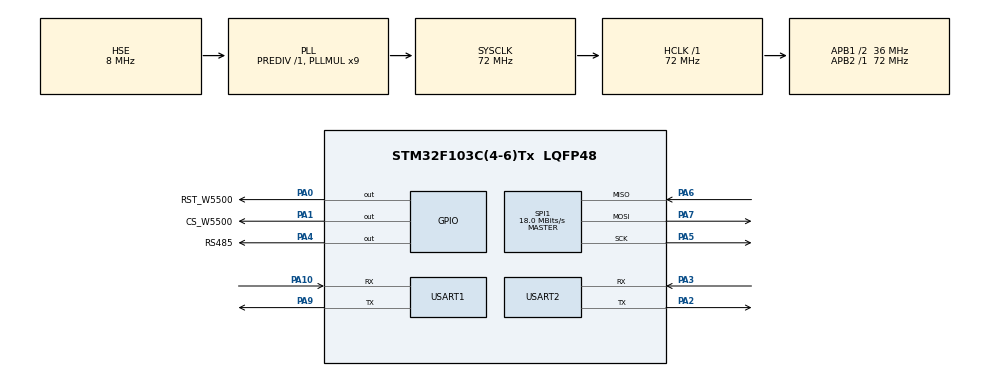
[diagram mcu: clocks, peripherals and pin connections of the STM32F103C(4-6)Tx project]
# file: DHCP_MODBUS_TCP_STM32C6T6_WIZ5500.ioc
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Mcu.Family=STM32F1
Mcu.Name=STM32F103C(4-6)Tx
Mcu.Package=LQFP48
NVIC.PriorityGroup=NVIC_PRIORITYGROUP_4
PA0-WKUP.GPIO_Label=RST_W5500
PA0-WKUP.Signal=GPIO_Output
PA1.GPIO_Label=CS_W5500
PA1.Signal=GPIO_Output
PA10.Mode=Asynchronous
PA10.Signal=USART1_RX
PA13.Mode=Serial_Wire
PA13.Signal=SYS_JTMS-SWDIO
PA14.Mode=Serial_Wire
PA14.Signal=SYS_JTCK-SWCLK
PA2.Mode=Asynchronous
PA2.Signal=USART2_TX
PA3.Mode=Asynchronous
PA3.Signal=USART2_RX
PA4.GPIO_Label=RS485
PA4.Signal=GPIO_Output
PA5.Mode=Full_Duplex_Master
PA5.Signal=SPI1_SCK
PA6.Mode=Full_Duplex_Master
PA6.Signal=SPI1_MISO
PA7.Mode=Full_Duplex_Master
PA7.Signal=SPI1_MOSI
PA9.Mode=Asynchronous
PA9.Signal=USART1_TX
PD0-OSC_IN.Mode=HSE-External-Oscillator
PD0-OSC_IN.Signal=RCC_OSC_IN
PD1-OSC_OUT.Mode=HSE-External-Oscillator
PD1-OSC_OUT.Signal=RCC_OSC_OUT
ProjectManager.HeapSize=0x200
ProjectManager.StackSize=0x400
ProjectManager.TargetToolchain=STM32CubeIDE
RCC.AHBFreq_Value=72000000
RCC.APB1CLKDivider=RCC_HCLK_DIV2
RCC.APB1Freq_Value=36000000
RCC.APB1TimFreq_Value=72000000
RCC.APB2Freq_Value=72000000
RCC.APB2TimFreq_Value=72000000
RCC.HCLKFreq_Value=72000000
RCC.PLLMUL=RCC_PLL_MUL9
RCC.PLLSourceVirtual=RCC_PLLSOURCE_HSE
RCC.RTCClockSelection=RCC_RTCCLKSOURCE_HSE_DIV128
RCC.SYSCLKFreq_VALUE=72000000
RCC.SYSCLKSource=RCC_SYSCLKSOURCE_PLLCLK
RCC.USBFreq_Value=72000000
SPI1.BaudRatePrescaler=SPI_BAUDRATEPRESCALER_4
SPI1.CalculateBaudRate=18.0 MBits/s
SPI1.Direction=SPI_DIRECTION_2LINES
SPI1.Mode=SPI_MODE_MASTER
SPI1.VirtualType=VM_MASTER
USART1.VirtualMode=VM_ASYNC
USART2.VirtualMode=VM_ASYNC
board=custom

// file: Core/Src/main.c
/* USER CODE BEGIN Header */
/**
  ******************************************************************************
  * @file           : main.c
  * @brief          : Main program body
  ******************************************************************************
  * @attention
  *
  * Copyright (c) 2024 STMicroelectronics.
  * All rights reserved.
  *
  * This software is licensed under terms that can be found in the LICENSE file
  * in the root directory of this software component.
  * If no LICENSE file comes with this software, it is provided AS-IS.
  *
  ******************************************************************************
  */
/* USER CODE END Header */
#include "main.h"

/* USER CODE BEGIN Includes */
#include "socket.h"
#include "wizchip_conf.h"
#include "W5500_Spi.h"
#include <stdio.h>
#include "dhcp.h"
#include "ModbusMaster.h"
/* USER CODE END Includes */

/* USER CODE BEGIN PTD */
#define _MAIN_DEBUG_
#define _DHCP_DEBUG_
//////////////////////////////////////////////////
// Socket & Port number definition for Examples //
//////////////////////////////////////////////////
#define SOCK_DHCP       6
#define SOCK_SNTP		4
#define SOCK_TCPC 		5
#define TCPC_PORT 		3000
////////////////////////////////////////////////
// Shared Buffer Definition for Loopback test //
////////////////////////////////////////////////
uint8_t gDHCPBUF[RIP_MSG_SIZE];
///////////////////////////
// Network Configuration //
///////////////////////////s
wiz_NetInfo gWIZNETINFO = {
		.mac = { 0x80, 0x34, 0x28, 0x74, 0xA5, 0xCB },//MSB - LSB
		.ip ={ 192, 168, 1, 112 },
		.sn = { 255, 255, 255, 0 },
		.gw ={ 192, 168, 1, 1 },
		.dns = { 0, 0, 0, 0 },
		.dhcp = NETINFO_DHCP };
////////////////
// DHCP client//
////////////////
#define MY_MAX_DHCP_RETRY			2
uint8_t my_dhcp_retry = 0;
/*****************************************************************************
 * Private functions
 ****************************************************************************/
static void Net_Conf();
static void Display_Net_Conf();
// Callback function : User defined DHCP functions
void my_ip_assign(void);
void my_ip_conflict(void);
/* USER CODE END PTD */

SPI_HandleTypeDef hspi1;

UART_HandleTypeDef huart1;
UART_HandleTypeDef huart2;

void SystemClock_Config(void);
static void MX_GPIO_Init(void);
static void MX_SPI1_Init(void);
static void MX_USART2_UART_Init(void);
static void MX_USART1_UART_Init(void);

/* USER CODE BEGIN 0 */
void UWriteData(const char data)
{
	while(__HAL_UART_GET_FLAG(&huart2,UART_FLAG_TXE)==RESET);

	huart2.Instance->DR=data;

}

int __io_putchar(int ch)
{
	UWriteData(ch);
	return ch;
}

void PHYStatusCheck(void)
{
	uint8_t tmp;

	do
	{
		printf("\r\nChecking Ethernet Cable Presence ...");
		ctlwizchip(CW_GET_PHYLINK, (void*) &tmp);

		if(tmp == PHY_LINK_OFF)
		{
			printf("NO Cable Connected!");
			HAL_Delay(1500);
		}
	}while(tmp == PHY_LINK_OFF);

	printf("Good! Cable got connected!");

}

void PrintPHYConf(void)
{
	wiz_PhyConf phyconf;

	ctlwizchip(CW_GET_PHYCONF, (void*) &phyconf);

	if(phyconf.by==PHY_CONFBY_HW)
	{
		printf("\n\rPHY Configured by Hardware Pins");
	}
	else
	{
		printf("\n\rPHY Configured by Registers");
	}

	if(phyconf.mode==PHY_MODE_AUTONEGO)
	{
		printf("\n\rAutonegotiation Enabled");
	}
	else
	{
		printf("\n\rAutonegotiation NOT Enabled");
	}

	if(phyconf.duplex==PHY_DUPLEX_FULL)
	{
		printf("\n\rDuplex Mode: Full");
	}
	else
	{
		printf("\n\rDuplex Mode: Half");
	}

	if(phyconf.speed==PHY_SPEED_10)
	{
		printf("\n\rSpeed: 10Mbps");
	}
	else
	{
		printf("\n\rSpeed: 100Mbps");
	}
}

extern uint16_t mbHoldingReg;
extern uint16_t mbInputReg;
extern uint8_t mbDisCoils;
extern uint8_t mbCoils;
/* USER CODE END 0 */

int main(void)
{
  /* USER CODE BEGIN 1 */
	setbuf(stdout, NULL);
  /* USER CODE END 1 */

  /* MCU Configuration--------------------------------------------------------*/

  /* Reset of all peripherals, Initializes the Flash interface and the Systick. */
  HAL_Init();

  /* USER CODE BEGIN Init */
  uint8_t exit_dhcp_loop = 0;
  uint8_t run_user_applications = 0;
  /* USER CODE END Init */

  /* Configure the system clock */
  SystemClock_Config();

  /* Initialize all configured peripherals */
  MX_GPIO_Init();
  MX_SPI1_Init();
  MX_USART2_UART_Init();
  MX_USART1_UART_Init();
  /* USER CODE BEGIN 2 */
  printf("DHCP + DNS + SNTP W5500 Application!\r\n");
  W5500Init();

  ctlnetwork(CN_SET_NETINFO, (void*) &gWIZNETINFO);
  PHYStatusCheck();
    PrintPHYConf();
    if(gWIZNETINFO.dhcp == NETINFO_DHCP)
      	{
      		DHCP_init(SOCK_DHCP, gDHCPBUF);
      		// if you want different action instead default ip assign, update, conflict.
      		// if cbfunc == 0, act as default.
      		reg_dhcp_cbfunc(my_ip_assign, my_ip_assign, my_ip_conflict);

      		run_user_applications = 0; 	// flag for running user's code
      	}
      	else
      	{
      		// Static
      #ifdef _MAIN_DEBUG_
      		Display_Net_Conf();
      #endif
      		run_user_applications = 1; 	// flag for running user's code
      	}

	  if(gWIZNETINFO.dhcp == NETINFO_DHCP && exit_dhcp_loop != 1)
	    	  	{
	    				switch(DHCP_run())
	    				{
	    					case DHCP_IP_ASSIGN:
	    					case DHCP_IP_CHANGED:
	    						/* If this block empty, act with default_ip_assign & default_ip_update */
	    						//
	    						// This example calls my_ip_assign in the two case.
	    						//
	    						// Add to ...
	    						//
	    						break;
	    					case DHCP_IP_LEASED:
	    						//
	    						// TODO: insert user's code here
	    						run_user_applications = 1;

	    						exit_dhcp_loop = 1;
	    						break;
	    					case DHCP_FAILED:
	    						/* ===== Example pseudo code =====  */
	    						// The below code can be replaced your code or omitted.
	    						// if omitted, retry to process DHCP
	    						my_dhcp_retry++;
	    						if(my_dhcp_retry > MY_MAX_DHCP_RETRY)
	    						{
	    							gWIZNETINFO.dhcp = NETINFO_STATIC;
	    							DHCP_stop();      // if restart, recall DHCP_init()

	    	#ifdef _MAIN_DEBUG_
	    							printf(">> DHCP %d Failed\r\n", my_dhcp_retry);
	    							Net_Conf();
	    							Display_Net_Conf();   // print out static netinfo to serial
	    	#endif
	    							my_dhcp_retry = 0;
	    						}
	    						break;
	    					default:
	    						break;
	    				}
	    	  	}
	//  mbMasterInit(&huart1);
uint8_t destip[4] = {192,168,1,5};
uint16_t destport = 5000;

if (socket(SOCK_TCPC, Sn_MR_TCP, TCPC_PORT, 0) != SOCK_TCPC){
	 	 printf("Socket not created\n\r");
	 	 while(1);
	  }

	  if( (ret = connect(SOCK_TCPC, destip, destport)) != SOCK_OK){
	 	 printf("Connection not established \n\r");
	 	 while(1);
	  }

	  uint8_t socket_io_mode=SOCK_IO_BLOCK;
	  ctlsocket(SOCK_TCPC, CS_SET_IOMODE , &socket_io_mode);//set blocking IO mode
	  uint16_t ret;

  /* USER CODE END 2 */

  /* Infinite loop */
  /* USER CODE BEGIN WHILE */
  while (1)
  {
	    if(run_user_applications){
	  //// code for  modbus
	  		   if( mbMasterRead(R_COIL,1, 0, 3,1000) != READ_SUCCES ){
	  		   	 while (1);
	  		    }
	  //		   if( mbMasterRead(R_DIS_COIL,1, 0, 3,1000) != READ_SUCCES){
	  //		    	 while (1);
	  //		     }
	  //		   if( mbMasterRead(R_HOLD_REG,1, 0, 2,1000)!= READ_SUCCES){
	  //		    	 while (1);
	  //		     }
	  //		   if( mbMasterRead(R_INPUT_REG,1, 0, 2,1000)!= READ_SUCCES){
	  //		 		    	 while (1);
	  //		 		     }
	  //	  	    HAL_Delay(1000);
	  	  	}

	 switch(getSn_CR(SOCK_TCPC)){
	 case SOCK_ESTABLISHED:{
		 while(size != sentsize)
		 			{
		 				ret = send(SOCK_TCPC, buf+sentsize, size-sentsize); // Data send process (User's buffer -> Destination through H/W Tx socket buffer)
		 				if(ret < 0) // Send Error occurred (sent data length < 0)
		 				{
		 					close(sn); // socket close
		 					printf("Send not successful\n\r");
		 				}
		 				sentsize += ret; // Don't care SOCKERR_BUSY, because it is zero.
		 			}
		 break;
	 }
	 case SOCK_CLOSE_WAIT:{
		 if((ret=disconnect(SOCK_TCPC)) == SOCK_OK){
			 printf("%d:Socket Closed\r\n", sn);
		 }
		 break;
	 }
	 case SOCK_CLOSED:{
   	  close(SOCK_TCPC);
	break;
	 }
	 }

    /* USER CODE END WHILE */

    /* USER CODE BEGIN 3 */
//	  if(run_user_applications){
//// code for  modbus
//		   if( mbMasterRead(R_COIL,1, 0, 3,1000) != READ_SUCCES ){
//		   	 while (1);
//		    }
//		   if( mbMasterRead(R_DIS_COIL,1, 0, 3,1000) != READ_SUCCES){
//		    	 while (1);
//		     }
//		   if( mbMasterRead(R_HOLD_REG,1, 0, 2,1000)!= READ_SUCCES){
//		    	 while (1);
//		     }
//		   if( mbMasterRead(R_INPUT_REG,1, 0, 2,1000)!= READ_SUCCES){
//		 		    	 while (1);
//		 		     }
//	  	    HAL_Delay(1000);
//	  	}

  }
  /* USER CODE END 3 */
}

void SystemClock_Config(void)
{
  RCC_OscInitTypeDef RCC_OscInitStruct = {0};
  RCC_ClkInitTypeDef RCC_ClkInitStruct = {0};

  /** Initializes the RCC Oscillators according to the specified parameters
  * in the RCC_OscInitTypeDef structure.
  */
  RCC_OscInitStruct.OscillatorType = RCC_OSCILLATORTYPE_HSE;
  RCC_OscInitStruct.HSEState = RCC_HSE_ON;
  RCC_OscInitStruct.HSEPredivValue = RCC_HSE_PREDIV_DIV1;
  RCC_OscInitStruct.HSIState = RCC_HSI_ON;
  RCC_OscInitStruct.PLL.PLLState = RCC_PLL_ON;
  RCC_OscInitStruct.PLL.PLLSource = RCC_PLLSOURCE_HSE;
  RCC_OscInitStruct.PLL.PLLMUL = RCC_PLL_MUL9;
  if (HAL_RCC_OscConfig(&RCC_OscInitStruct) != HAL_OK)
  {
    Error_Handler();
  }

  /** Initializes the CPU, AHB and APB buses clocks
  */
  RCC_ClkInitStruct.ClockType = RCC_CLOCKTYPE_HCLK|RCC_CLOCKTYPE_SYSCLK
                              |RCC_CLOCKTYPE_PCLK1|RCC_CLOCKTYPE_PCLK2;
  RCC_ClkInitStruct.SYSCLKSource = RCC_SYSCLKSOURCE_PLLCLK;
  RCC_ClkInitStruct.AHBCLKDivider = RCC_SYSCLK_DIV1;
  RCC_ClkInitStruct.APB1CLKDivider = RCC_HCLK_DIV2;
  RCC_ClkInitStruct.APB2CLKDivider = RCC_HCLK_DIV1;

  if (HAL_RCC_ClockConfig(&RCC_ClkInitStruct, FLASH_LATENCY_2) != HAL_OK)
  {
    Error_Handler();
  }
}

static void MX_SPI1_Init(void)
{

  /* SPI1 parameter configuration*/
  hspi1.Instance = SPI1;
  hspi1.Init.Mode = SPI_MODE_MASTER;
  hspi1.Init.Direction = SPI_DIRECTION_2LINES;
  hspi1.Init.DataSize = SPI_DATASIZE_8BIT;
  hspi1.Init.CLKPolarity = SPI_POLARITY_LOW;
  hspi1.Init.CLKPhase = SPI_PHASE_1EDGE;
  hspi1.Init.NSS = SPI_NSS_SOFT;
  hspi1.Init.BaudRatePrescaler = SPI_BAUDRATEPRESCALER_4;
  hspi1.Init.FirstBit = SPI_FIRSTBIT_MSB;
  hspi1.Init.TIMode = SPI_TIMODE_DISABLE;
  hspi1.Init.CRCCalculation = SPI_CRCCALCULATION_DISABLE;
  hspi1.Init.CRCPolynomial = 10;
  if (HAL_SPI_Init(&hspi1) != HAL_OK)
  {
    Error_Handler();
  }
  /* USER CODE BEGIN SPI1_Init 2 */
  __HAL_SPI_ENABLE(&hspi1);
  /* USER CODE END SPI1_Init 2 */

}

static void MX_USART1_UART_Init(void)
{

  huart1.Instance = USART1;
  huart1.Init.BaudRate = 115200;
  huart1.Init.WordLength = UART_WORDLENGTH_8B;
  huart1.Init.StopBits = UART_STOPBITS_1;
  huart1.Init.Parity = UART_PARITY_NONE;
  huart1.Init.Mode = UART_MODE_TX_RX;
  huart1.Init.HwFlowCtl = UART_HWCONTROL_NONE;
  huart1.Init.OverSampling = UART_OVERSAMPLING_16;
  if (HAL_UART_Init(&huart1) != HAL_OK)
  {
    Error_Handler();
  }

}

static void MX_USART2_UART_Init(void)
{

  huart2.Instance = USART2;
  huart2.Init.BaudRate = 115200;
  huart2.Init.WordLength = UART_WORDLENGTH_8B;
  huart2.Init.StopBits = UART_STOPBITS_1;
  huart2.Init.Parity = UART_PARITY_NONE;
  huart2.Init.Mode = UART_MODE_TX_RX;
  huart2.Init.HwFlowCtl = UART_HWCONTROL_NONE;
  huart2.Init.OverSampling = UART_OVERSAMPLING_16;
  if (HAL_UART_Init(&huart2) != HAL_OK)
  {
    Error_Handler();
  }

}

static void MX_GPIO_Init(void)
{
  GPIO_InitTypeDef GPIO_InitStruct = {0};

  /* GPIO Ports Clock Enable */
  __HAL_RCC_GPIOD_CLK_ENABLE();
  __HAL_RCC_GPIOA_CLK_ENABLE();

  /*Configure GPIO pin Output Level */
  HAL_GPIO_WritePin(GPIOA, RST_W5500_Pin|CS_W5500_Pin|RS485_Pin, GPIO_PIN_RESET);

  /*Configure GPIO pins : RST_W5500_Pin CS_W5500_Pin RS485_Pin */
  GPIO_InitStruct.Pin = RST_W5500_Pin|CS_W5500_Pin|RS485_Pin;
  GPIO_InitStruct.Mode = GPIO_MODE_OUTPUT_PP;
  GPIO_InitStruct.Pull = GPIO_NOPULL;
  GPIO_InitStruct.Speed = GPIO_SPEED_FREQ_LOW;
  HAL_GPIO_Init(GPIOA, &GPIO_InitStruct);

}

/* USER CODE BEGIN 4 */
static void Display_Net_Conf()
{
#ifdef _MAIN_DEBUG_
	uint8_t tmpstr[6] = {0,};
#endif

	ctlnetwork(CN_GET_NETINFO, (void*) &gWIZNETINFO);

#ifdef _MAIN_DEBUG_
	// Display Network Information
	ctlwizchip(CW_GET_ID,(void*)tmpstr);

	if(gWIZNETINFO.dhcp == NETINFO_DHCP) printf("\r\n===== %s NET CONF : DHCP =====\r\n",(char*)tmpstr);
		else printf("\r\n===== %s NET CONF : Static =====\r\n",(char*)tmpstr);
	printf(" MAC : %02X:%02X:%02X:%02X:%02X:%02X\r\n", gWIZNETINFO.mac[0], gWIZNETINFO.mac[1], gWIZNETINFO.mac[2], gWIZNETINFO.mac[3], gWIZNETINFO.mac[4], gWIZNETINFO.mac[5]);
	printf(" IP : %d.%d.%d.%d\r\n", gWIZNETINFO.ip[0], gWIZNETINFO.ip[1], gWIZNETINFO.ip[2], gWIZNETINFO.ip[3]);
	printf(" GW : %d.%d.%d.%d\r\n", gWIZNETINFO.gw[0], gWIZNETINFO.gw[1], gWIZNETINFO.gw[2], gWIZNETINFO.gw[3]);
	printf(" SN : %d.%d.%d.%d\r\n", gWIZNETINFO.sn[0], gWIZNETINFO.sn[1], gWIZNETINFO.sn[2], gWIZNETINFO.sn[3]);
	printf(" DNS IP : %d.%d.%d.%d\r\n", gWIZNETINFO.dns[0], gWIZNETINFO.dns[1], gWIZNETINFO.dns[2], gWIZNETINFO.dns[3]);
	printf("=======================================\r\n");
#endif
}

/*******************************************************
 * @ brief Call back for ip assing & ip update from DHCP
 *******************************************************/
void my_ip_assign(void)
{
   getIPfromDHCP(gWIZNETINFO.ip);
   getGWfromDHCP(gWIZNETINFO.gw);
   getSNfromDHCP(gWIZNETINFO.sn);
   getDNSfromDHCP(gWIZNETINFO.dns);
   gWIZNETINFO.dhcp = NETINFO_DHCP;
   /* Network initialization */
   Net_Conf();      // apply from DHCP
#ifdef _MAIN_DEBUG_
   Display_Net_Conf();
   printf("DHCP LEASED TIME : %ld Sec.\r\n", getDHCPLeasetime());
   printf("\r\n");
#endif
}

/************************************
 * @ brief Call back for ip Conflict
 ************************************/
void my_ip_conflict(void)
{
#ifdef _MAIN_DEBUG_
	printf("CONFLICT IP from DHCP\r\n");
#endif
   //halt or reset or any...
   while(1); // this example is halt.
}

static void Net_Conf()
{
	/* wizchip netconf */
	ctlnetwork(CN_SET_NETINFO, (void*) &gWIZNETINFO);
}
/* USER CODE END 4 */

void Error_Handler(void)
{
  __disable_irq();
  while (1)
  {
  }
}
